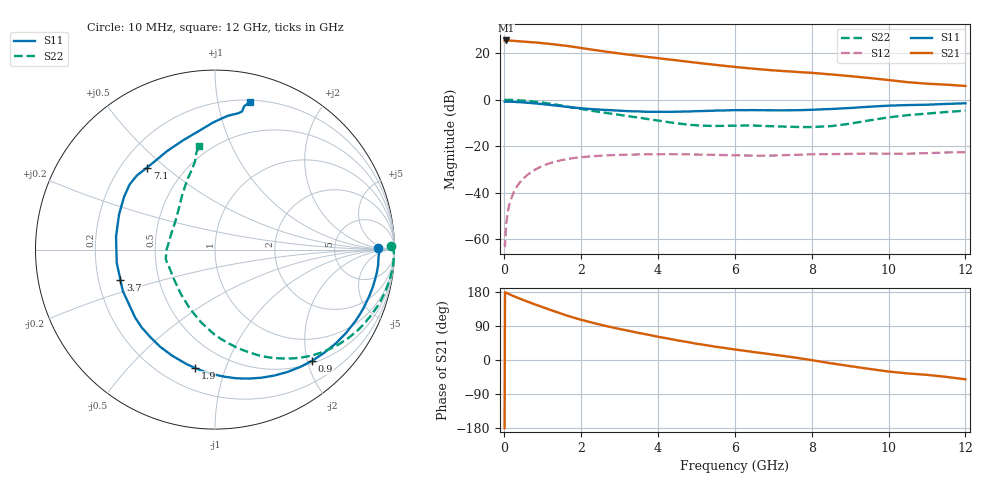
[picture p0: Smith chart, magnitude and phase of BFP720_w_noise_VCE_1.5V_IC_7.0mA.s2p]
! Infineon Technologies  Discrete & RF Semiconductors
! BFP720
! VCE =  1.5 V,  IC =  7.0 mA
! Common Emitter S-Parameters:  Aug 2012
# GHz  S  MA  R  50
!  f  S11  S21  S12  S22
! GHz  MAG  ANG  MAG  ANG  MAG  ANG  MAG  ANG
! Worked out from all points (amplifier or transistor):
!   105 points, 10 MHz to 12 GHz, reference 50 ohm
!   highest |S21| = 25.6 dB at 50 MHz (marker M1)
!   |S21| within 3 dB of that: start of sweep to 1.901 GHz
!   unconditionally stable (mu >= 1): start of sweep to 11.32 MHz; 6.241 GHz to 11.62 GHz
!   at 300 MHz: K = 0.06, MSG = 31.8 dB, |S12| = -38.2 dB
!   at 3.6 GHz: K = 0.58, MSG = 21.1 dB, |S12| = -23.5 dB
!   at 12 GHz: K = 0.90, MSG = 14.3 dB, |S12| = -22.6 dB
!   lowest NFmin = 0.44 dB at 450 MHz
!   S11 on the Smith chart (normalised r, x): 10 MHz: 21, +2; 900 MHz: 0.54, -2.09; 1.9 GHz: 0.33, -0.79; 3.7 GHz: 0.29, -0.14; 7.1 GHz: 0.31, +0.43; 12 GHz: 0.22, +1.24
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0.01  0.9101 0.6  18.82 -179.8  0.0008 1.1  0.9804 1.1
0.02  0.9156 -1.0  18.77 178.7  0.0007 92.5  0.9967 -0.7
0.05  0.912 -2.7  19.03 177.3  0.0019 89.0  0.9963 -1.8
0.15  0.9107 -8.2  18.9 172.8  0.0062 85.6  0.9948 -5.8
0.45  0.8834 -24.4  18.09 160.1  0.0182 75.6  0.9665 -17.2
0.9  0.823 -48.8  16.95 143.1  0.0344 61.6  0.8906 -33.7
1.2  0.7753 -64.9  15.99 132.2  0.0433 52.9  0.8235 -44.2
1.4  0.743 -75.3  15.28 125.2  0.0481 47.5  0.7748 -50.7
1.6  0.7097 -85.9  14.65 118.3  0.0521 42.4  0.7253 -56.8
1.9  0.6683 -99.7  13.47 109.0  0.0567 35.7  0.656 -65.3
2.1  0.6458 -107.9  12.71 103.6  0.0589 31.8  0.6144 -70.2
2.4  0.6217 -119.4  11.68 95.7  0.0616 26.6  0.5603 -77.4
2.8  0.5959 -133.2  10.5 86.3  0.0641 20.7  0.5003 -86.0
3.7  0.5533 -162.4  8.449 67.6  0.0667 10.4  0.3891 -105.2
4.1  0.55 -175.4  7.727 59.6  0.0671 6.6  0.3472 -115.5
5  0.5696 159.7  6.315 43.0  0.0662 -0.5  0.2822 -144.0
6.1  0.5981 141.4  5.024 26.4  0.0634 -5.2  0.2779 -166.6
7.1  0.5935 129.6  4.258 12.9  0.0633 -5.9  0.2674 178.3
8.5  0.6337 106.5  3.528 -8.6  0.0675 -10.5  0.2701 145.1
9.5  0.7089 90.8  2.953 -23.5  0.0695 -14.3  0.3598 120.2
10.5  0.7703 80.4  2.397 -35.5  0.0691 -17.4  0.4671 105.8
12  0.8421 76.8  1.989 -51.0  0.074 -23.0  0.5847 98.8
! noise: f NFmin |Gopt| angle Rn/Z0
0.45  0.44  0.4  3  -0.03
1.8  0.52  0.37  23  0.13
2.4  0.57  0.28  50  0.26
5.5  0.71  0.17  49  0.16
10  0.94  0.39  -86  0.2
